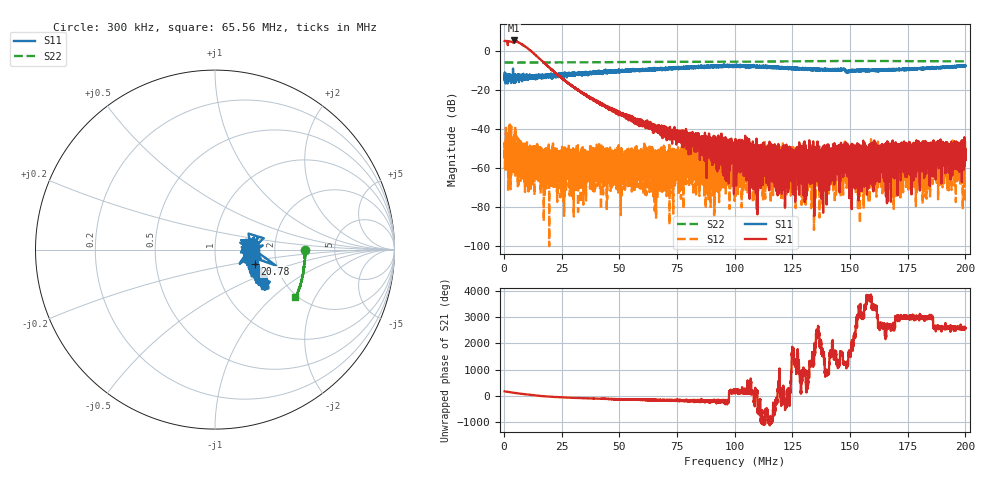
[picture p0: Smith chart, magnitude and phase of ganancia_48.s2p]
# Hz S DB R 50
! CMT, M5065, 19127446, 24.2.4/2
! Date: 11/8/2024 6:45:27 PM
! Data: Format (Calibration Info)
! Freq	S11:dB/Ang(F2)	S21:dB/Ang(F2)	S12:dB/Ang(F2)	S22:dB/Ang(F2)
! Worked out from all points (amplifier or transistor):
!   9000 points, 300 kHz to 200 MHz, reference 50 ohm
!   highest |S21| = 5.4 dB at 4.339 MHz (marker M1)
!   |S21| within 3 dB of that: start of sweep to 9.092 MHz
!   unconditionally stable (mu >= 1): start of sweep to end of sweep
!   at 33.59 MHz: K = 5261.26, MAG = -19.7 dB, |S12| = -62.3 dB
!   at 100.2 MHz: K = 34381.62, MAG = -47.1 dB, |S12| = -51.8 dB
!   at 200 MHz: K = 49402.66, MAG = -48.3 dB, |S12| = -53.9 dB
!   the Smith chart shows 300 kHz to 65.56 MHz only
!   S11 on the Smith chart (normalised r, x): 300 kHz: 1.42, +0.10; 20.78 MHz: 1.55, -0.26; 65.56 MHz: 1.55, -0.71
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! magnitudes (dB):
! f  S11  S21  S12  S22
! 300 kHz  -15.0  5.1  -55.3  -6.0
! 4.339 MHz  -12.5  5.4  -59.1  -6.0
! 11.17 MHz  -12.1  0.4  -55.3  -6.0
! 20.78 MHz  -12.5  -9.7  -67.5  -5.9
! 33.59 MHz  -12.5  -21.2  -62.3  -5.9
! 57.75 MHz  -9.5  -36.0  -53.5  -5.7
! 60.22 MHz  -9.4  -37.5  -55.4  -5.7
! 63.5 MHz  -9.7  -38.8  -59.2  -5.7
! 65.56 MHz  -9.4  -40.7  -56.8  -5.7
! 66.87 MHz  -9.8  -40.7  -71.5  -5.7
! 80.41 MHz  -8.6  -46.2  -53.8  -5.6
! 93.7 MHz  -7.8  -49.2  -60.1  -5.6
! 100.2 MHz  -7.8  -49.4  -51.8  -5.6
! 115.7 MHz  -8.2  -50.8  -59.1  -5.5
! 119.6 MHz  -9.1  -55.8  -57.3  -5.4
! 133.4 MHz  -9.0  -50.0  -60.4  -5.3
! 142.3 MHz  -9.8  -58.2  -61.3  -5.2
! 147.5 MHz  -9.5  -50.6  -51.8  -5.2
! 151.2 MHz  -10.6  -59.7  -50.8  -5.2
! 166.7 MHz  -9.8  -54.7  -49.6  -5.2
! 181.3 MHz  -9.0  -51.8  -53.1  -5.3
! 200 MHz  -7.6  -50.7  -53.9  -5.4
